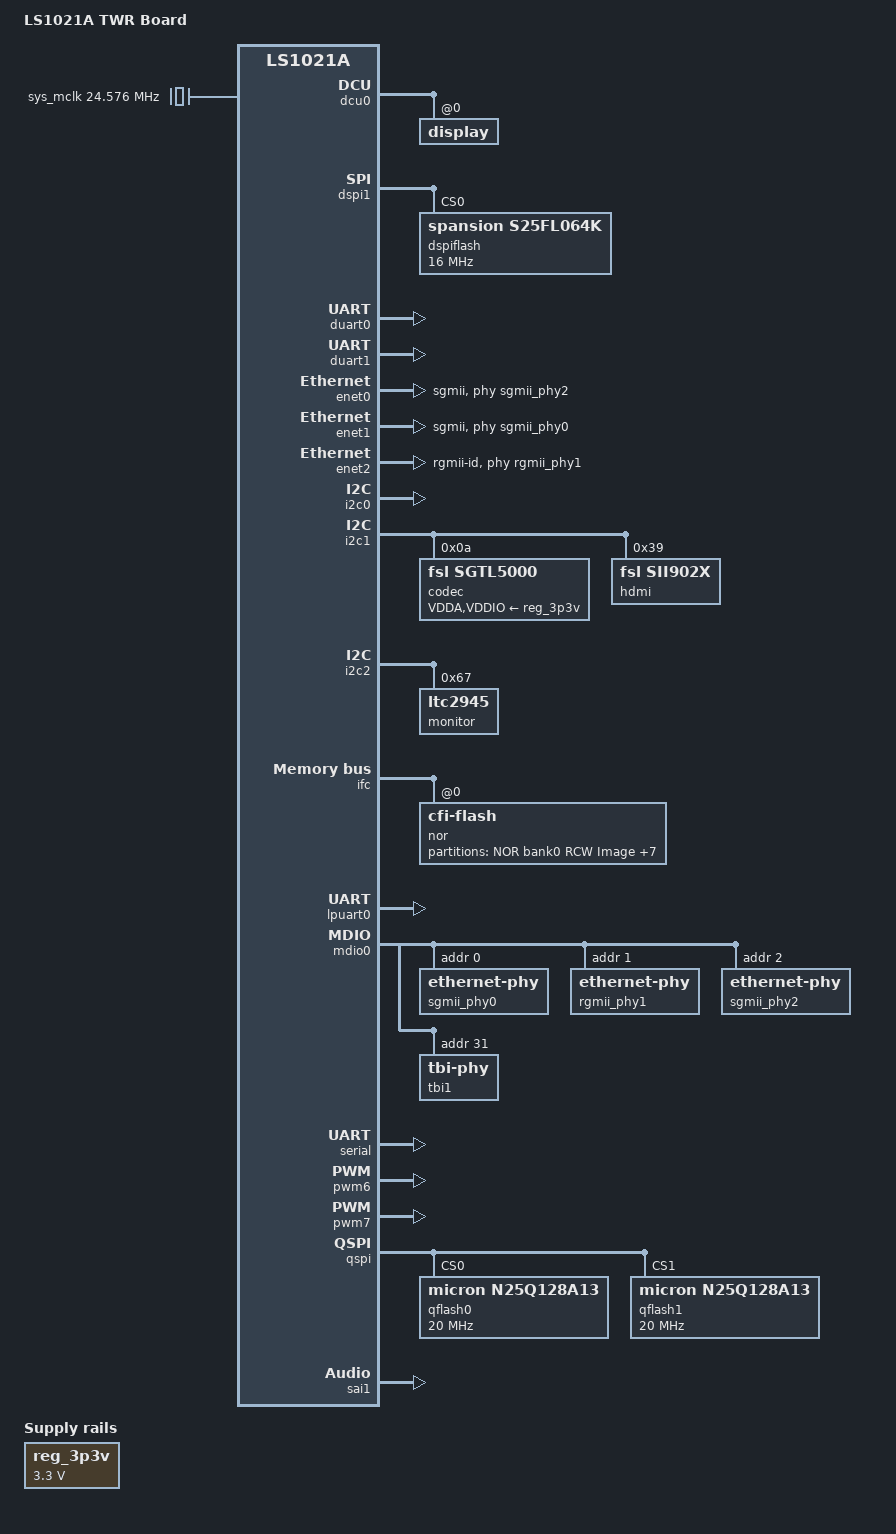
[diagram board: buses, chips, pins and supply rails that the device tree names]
/*
 * Copyright 2013-2014 Freescale Semiconductor, Inc.
 *
 * This program is free software; you can redistribute it and/or modify
 * it under the terms of the GNU General Public License as published by
 * the Free Software Foundation; either version 2 of the License, or
 * (at your option) any later version.
 */

/dts-v1/;
#include "ls1021a.dtsi"

/ {
	model = "LS1021A TWR Board";

	aliases {
		enet2_rgmii_phy = &rgmii_phy1;
		enet0_sgmii_phy = &sgmii_phy2;
		enet1_sgmii_phy = &sgmii_phy0;
	};

	clocks {
		sys_mclk: clock {
			compatible = "fixed-clock";
			#clock-cells = <0>;
			clock-frequency = <24576000>;
		};
	};

	regulators {
		compatible = "simple-bus";
		#address-cells = <1>;
		#size-cells = <0>;

		reg_3p3v: regulator@0 {
			compatible = "regulator-fixed";
			reg = <0>;
			regulator-name = "3P3V";
			regulator-min-microvolt = <3300000>;
			regulator-max-microvolt = <3300000>;
			regulator-always-on;
		};
	};

	sound {
		compatible = "fsl,vf610-sgtl5000";
		simple-audio-card,name = "FSL-VF610-TWR-BOARD";
		simple-audio-card,routing =
			"MIC_IN", "Microphone Jack",
			"Microphone Jack", "Mic Bias",
			"LINE_IN", "Line In Jack",
			"Headphone Jack", "HP_OUT",
			"Speaker Ext", "LINE_OUT";

		simple-audio-card,cpu = <&sai1>;

		simple-audio-card,codec = <&codec>;
	};
};

&dcu0 {
	display = <&display>;
	status = "okay";

	display: display@0 {
		bits-per-pixel = <24>;

		display-timings {
			native-mode = <&timing0>;
			timing0: nl4827hc19 {
				clock-frequency = <10870000>;
				hactive = <480>;
				vactive = <272>;
				hback-porch = <2>;
				hfront-porch = <2>;
				vback-porch = <2>;
				vfront-porch = <2>;
				hsync-len = <41>;
				vsync-len = <4>;
				hsync-active = <1>;
				vsync-active = <1>;
			};
		};
	};
};

&dspi1 {
	bus-num = <0>;
	status = "okay";

	dspiflash: s25fl064k@0 {
		#address-cells = <1>;
		#size-cells = <1>;
		compatible = "spansion,s25fl064k";
		spi-max-frequency = <16000000>;
		spi-cpol;
		spi-cpha;
		reg = <0>;
	};
};

&duart0 {
	status = "okay";
};

&duart1 {
	status = "okay";
};

&enet0 {
	tbi-handle = <&tbi1>;
	phy-handle = <&sgmii_phy2>;
	phy-connection-type = "sgmii";
	status = "okay";
};

&enet1 {
	tbi-handle = <&tbi1>;
	phy-handle = <&sgmii_phy0>;
	phy-connection-type = "sgmii";
	status = "okay";
};

&enet2 {
	phy-handle = <&rgmii_phy1>;
	phy-connection-type = "rgmii-id";
	status = "okay";
};

&i2c0 {
	status = "okay";
};

&i2c1 {
	status = "okay";
	codec: sgtl5000@a {
		compatible = "fsl,sgtl5000";
		reg = <0x0a>;
		VDDA-supply = <&reg_3p3v>;
		VDDIO-supply = <&reg_3p3v>;
		clocks = <&sys_mclk 1>;
	};

	hdmi: sii9022a@39 {
	      compatible = "fsl,sii902x";
	      reg = <0x39>;
	      interrupts = <GIC_SPI 167 IRQ_TYPE_EDGE_RISING>;
	};
};

&i2c2 {
	status = "okay";
	monitor: ltc2945@67 {
		reg = <0x67>;
	};
};

&ifc {
	status = "okay";
	#address-cells = <2>;
	#size-cells = <1>;
	/* NOR, and CPLD on board */
	ranges = <0x0 0x0 0x0 0x60000000 0x08000000
		0x2 0x0 0x0 0x7fb00000 0x00000100>;

		nor@0,0 {
			compatible = "cfi-flash";
			#address-cells = <1>;
			#size-cells = <1>;
			reg = <0x0 0x0 0x8000000>;
			bank-width = <2>;
			device-width = <1>;

			partition@0 {
				/* 128KB for rcw */
				reg = <0x00000000 0x0020000>;
				label = "NOR bank0 RCW Image";
			};

			partition@20000 {
				/* 1MB for DTB */
				reg = <0x00020000 0x00100000>;
				label = "NOR DTB Image";
			};

			partition@120000 {
				/* 8 MB for Linux Kernel Image */
				reg = <0x00120000 0x00800000>;
				label = "NOR Linux Kernel Image";
			};

			partition@920000 {
				/* 56MB for Ramdisk Root File System */
				reg = <0x00920000 0x03600000>;
				label = "NOR Ramdisk Root File System Image";
			};

			partition@3f80000 {
				/* 512KB for bank4 u-boot Image */
				reg = <0x03f80000 0x80000>;
				label = "NOR bank4 u-boot Image";
			};

			partition@4000000 {
				/* 128KB for bank4 RCW Image */
				reg = <0x04000000 0x20000>;
				label = "NOR bank4 RCW Image";
			};

			partition@4020000 {
				/* 63MB JFFS2 ROOT File System Image */
				reg = <0x04020000 0x3f00000>;
				label = "NOR JFFS2 ROOT File System Image";
			};

			partition@7f80000 {
				/* 512KB for bank0 u-boot Image */
				reg = <0x07f80000 0x80000>;
				label = "NOR bank0 u-boot Image";
			};
		};
};

&lpuart0 {
	status = "okay";
};

&mdio0 {
	sgmii_phy0: ethernet-phy@0 {
		reg = <0x0>;
	};
	rgmii_phy1: ethernet-phy@1 {
		reg = <0x1>;
	};
	sgmii_phy2: ethernet-phy@2 {
		reg = <0x2>;
	};
	tbi1: tbi-phy@1f {
		reg = <0x1f>;
		device_type = "tbi-phy";
	};
};

&uqe {
	tdma: ucc@2000 {
		compatible = "fsl,ucc-tdm";
		rx-clock-name = "clk8";
		tx-clock-name = "clk9";
		fsl,rx-sync-clock = "rsync_pin";
		fsl,tx-sync-clock = "tsync_pin";
		fsl,tx-timeslot = <0xfffffffe>;
		fsl,rx-timeslot = <0xfffffffe>;
		fsl,tdm-framer-type = "e1";
		fsl,tdm-mode = "normal";
		fsl,tdm-id = <0>;
		fsl,siram-entry-id = <0>;
	};

	serial: ucc@2200 {
		device_type = "serial";
		compatible = "ucc_uart";
		port-number = <1>;
		rx-clock-name = "brg2";
		tx-clock-name = "brg2";
	};
};

&pwm6 {
	status = "okay";
};

&pwm7 {
	status = "okay";
};

&qspi {
	num-cs = <2>;
	status = "okay";

	qflash0: n25q128a13@0 {
		compatible = "micron,n25q128a13";
		#address-cells = <1>;
		#size-cells = <1>;
		spi-max-frequency = <20000000>;
		reg = <0>;
	};

	qflash1: n25q128a13@1 {
		compatible = "micron,n25q128a13";
		#address-cells = <1>;
		#size-cells = <1>;
		spi-max-frequency = <20000000>;
		reg = <1>;
	};
};

&sai1 {
	status = "okay";
};
